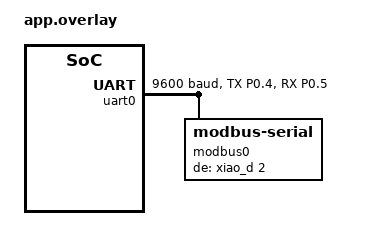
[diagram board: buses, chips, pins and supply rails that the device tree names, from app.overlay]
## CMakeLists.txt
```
cmake_minimum_required(VERSION 3.20.0)

find_package(Zephyr REQUIRED HINTS $ENV{ZEPHYR_BASE})
project(ble_mesh_general_rs485_node)

target_include_directories(app PRIVATE
  src
  ${CMAKE_CURRENT_LIST_DIR}/../../common/include
)
target_sources(app PRIVATE
  src/main.c
  ${CMAKE_CURRENT_LIST_DIR}/../../common/src/app_led.c
  ${CMAKE_CURRENT_LIST_DIR}/../../common/src/app_mesh.c
  ${CMAKE_CURRENT_LIST_DIR}/../../common/src/app_node.c
)
```

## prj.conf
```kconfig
CONFIG_MAIN_STACK_SIZE=4096
CONFIG_SYSTEM_WORKQUEUE_STACK_SIZE=2048
CONFIG_BT_SETTINGS=y
CONFIG_FLASH=y
CONFIG_FLASH_MAP=y
CONFIG_NVS=y
CONFIG_SETTINGS=y
CONFIG_HWINFO=y
CONFIG_BT=y
CONFIG_BT_PERIPHERAL=y
CONFIG_BT_OBSERVER=y
CONFIG_BT_BROADCASTER=y
CONFIG_BT_DEVICE_NAME="BLE_MESH_GENERAL"
CONFIG_BT_MESH=y
CONFIG_BT_MESH_RELAY=y
CONFIG_BT_MESH_PB_ADV=y
CONFIG_BT_MESH_PB_GATT=y
CONFIG_BT_MESH_GATT_PROXY=y
CONFIG_BT_MESH_SUBNET_COUNT=1
CONFIG_BT_MESH_APP_KEY_COUNT=1
CONFIG_BT_MESH_MODEL_KEY_COUNT=1
CONFIG_BT_MESH_MODEL_GROUP_COUNT=3
CONFIG_GPIO=y
CONFIG_SERIAL=y
CONFIG_UART_INTERRUPT_DRIVEN=y
CONFIG_UART_USE_RUNTIME_CONFIGURE=y
CONFIG_MODBUS=y
CONFIG_MODBUS_ROLE_CLIENT=y
CONFIG_MODBUS_FP_EXTENSIONS=n
CONFIG_CONSOLE=n
CONFIG_UART_CONSOLE=n
CONFIG_LOG=n
CONFIG_PRINTK=n
CONFIG_BOOT_BANNER=n
CONFIG_BUILD_OUTPUT_UF2=y
```

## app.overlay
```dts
#include <zephyr/dt-bindings/pinctrl/nrf-pinctrl.h>
#include <zephyr/dt-bindings/gpio/gpio.h>

/ {
	aliases {
		app-red = &led0;
		app-green = &led1;
		app-blue = &led2;
	};
};

&pinctrl {
	rs485_uart_default: rs485_uart_default {
		group1 {
			psels = <NRF_PSEL(UART_TX, 0, 4)>;
		};

		group2 {
			psels = <NRF_PSEL(UART_RX, 0, 5)>;
			bias-pull-up;
		};
	};

	rs485_uart_sleep: rs485_uart_sleep {
		group1 {
			psels = <NRF_PSEL(UART_TX, 0, 4)>,
				<NRF_PSEL(UART_RX, 0, 5)>;
			low-power-enable;
		};
	};
};

&uart0 {
	status = "okay";
	current-speed = <9600>;
	pinctrl-0 = <&rs485_uart_default>;
	pinctrl-1 = <&rs485_uart_sleep>;
	pinctrl-names = "default", "sleep";

	modbus0 {
		compatible = "zephyr,modbus-serial";
		status = "okay";
		de-gpios = <&xiao_d 2 GPIO_ACTIVE_HIGH>;
	};
};
```

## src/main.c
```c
#include <stdbool.h>
#include <stdint.h>

#include <errno.h>

#include <zephyr/devicetree.h>
#include <zephyr/kernel.h>
#include <zephyr/modbus/modbus.h>
#include <zephyr/sys/atomic.h>
#include <zephyr/sys/util.h>

#include "app_led.h"
#include "app_mesh.h"
#include "app_node.h"
#include "app_rs485_config.h"

#define PH_FIRST_REG                  0x0000U
#define PH_REG_COUNT                  3U
#define PH_CALIBRATION_REG            0x0007U
#define DO_MEASUREMENT_FIRST_REG      0x2001U
#define DO_MEASUREMENT_REG_COUNT      6U
#define DO_CALIBRATION_STATUS_REG     0x200fU
#define ORP_TEMPERATURE_REG           0x0000U
#define ORP_VALUE_FIRST_REG           0x0009U
#define ORP_VALUE_REG_COUNT           2U
#define TRANSMITTER_UNIT_FIRST_REG    0x0002U
#define TRANSMITTER_UNIT_REG_COUNT    3U
#define GENERAL_THREAD_STACK_SIZE     4096
#define GENERAL_THREAD_PRIORITY       7
#define GENERAL_WORKER_TICK_MS        100

#define GENERAL_MODBUS_NODE DT_COMPAT_GET_ANY_STATUS_OKAY(zephyr_modbus_serial)

enum sensor_runtime_state {
	SENSOR_STATE_UNKNOWN,
	SENSOR_STATE_ABSENT,
	SENSOR_STATE_ONLINE,
	SENSOR_STATE_LOST,
};

struct sensor_slot {
	enum app_sensor_type type;
	uint8_t address;
	enum sensor_runtime_state state;
	uint8_t failure_count;
	int64_t next_action_ms;
};

struct calibration_task {
	enum app_ph_calibration_point point;
	uint8_t sequence;
};

static const struct modbus_iface_param modbus_client_param = {
	.mode = MODBUS_MODE_RTU,
	.rx_timeout = APP_RS485_TIMEOUT_US,
	.serial = {
	.baud = APP_RS485_BAUDRATE,
		.parity = UART_CFG_PARITY_NONE,
		.stop_bits_client = UART_CFG_STOP_BITS_1,
	},
};

static struct sensor_slot sensors[] = {
	{ .type = APP_SENSOR_PH, .address = APP_RS485_PH_ADDRESS },
	{ .type = APP_SENSOR_DO, .address = APP_RS485_DO_ADDRESS },
	{ .type = APP_SENSOR_ORP, .address = APP_RS485_ORP_ADDRESS },
	{ .type = APP_SENSOR_WATER_LEVEL, .address = APP_RS485_WATER_LEVEL_ADDRESS },
};

static int modbus_iface = -1;
static bool modbus_ready;
static uint8_t mesh_sequence;
static atomic_t mesh_ready;
static atomic_t announce_inventory;
static struct k_thread general_thread;
K_THREAD_STACK_DEFINE(general_thread_stack, GENERAL_THREAD_STACK_SIZE);
K_MSGQ_DEFINE(calibration_queue, sizeof(struct calibration_task), 4, 4);
K_SEM_DEFINE(worker_wakeup, 0, 1);

static int init_modbus_client(void)
{
	const char *iface_name = DEVICE_DT_NAME(GENERAL_MODBUS_NODE);

	modbus_iface = modbus_iface_get_by_name(iface_name);
	if (modbus_iface < 0) {
		return modbus_iface;
	}

	return modbus_init_client(modbus_iface, modbus_client_param);
}

static int read_ph(const struct sensor_slot *sensor)
{
	uint16_t registers[PH_REG_COUNT];
	int16_t temperature_x10;
	int16_t ph_x100;
	int16_t ph_mv_x10;
	int err;

	err = modbus_read_holding_regs(modbus_iface, sensor->address, PH_FIRST_REG,
				       registers, ARRAY_SIZE(registers));
	if (err) {
		return err;
	}

	temperature_x10 = (int16_t)registers[0];
	ph_x100 = (int16_t)registers[1];
	ph_mv_x10 = (int16_t)registers[2];
	if (temperature_x10 < -200 || temperature_x10 > 600 || ph_x100 < 0 ||
	    ph_x100 > 1400 || ph_mv_x10 < -10000 || ph_mv_x10 > 10000) {
		return -ERANGE;
	}

	if (atomic_get(&mesh_ready)) {
		(void)app_mesh_send_ph_report(temperature_x10, ph_x100, ph_mv_x10,
					  mesh_sequence++);
	}
	return 0;
}

static int read_do(const struct sensor_slot *sensor)
{
	uint16_t registers[DO_MEASUREMENT_REG_COUNT];
	uint16_t calibration_status;
	uint16_t dissolved_oxygen_x100;
	int16_t temperature_x10;
	uint8_t saturation_pct;
	uint8_t calibration_flags = 0U;
	int err;

	err = modbus_read_holding_regs(modbus_iface, sensor->address,
				       DO_MEASUREMENT_FIRST_REG, registers,
				       ARRAY_SIZE(registers));
	if (err) {
		return err;
	}

	dissolved_oxygen_x100 = registers[0];
	temperature_x10 = (int16_t)registers[2];
	if (dissolved_oxygen_x100 > 2000U || temperature_x10 < 0 ||
	    temperature_x10 > 500 || registers[4] > 200U) {
		return -ERANGE;
	}
	saturation_pct = (uint8_t)registers[4];

	err = modbus_read_holding_regs(modbus_iface, sensor->address,
				       DO_CALIBRATION_STATUS_REG, &calibration_status, 1U);
	if (!err) {
		calibration_flags = APP_DO_CALIBRATION_STATUS_KNOWN |
			(calibration_status & (APP_DO_CALIBRATION_AIR_COMPLETE |
					       APP_DO_CALIBRATION_ZERO_COMPLETE));
	}

	if (atomic_get(&mesh_ready)) {
		(void)app_mesh_send_do_report(dissolved_oxygen_x100, temperature_x10,
					  saturation_pct, calibration_flags, mesh_sequence++);
	}
	return 0;
}

static int read_orp(const struct sensor_slot *sensor)
{
	uint16_t temperature_register;
	uint16_t value_registers[ORP_VALUE_REG_COUNT];
	int16_t temperature_x10;
	int16_t orp_x10;
	int16_t drift_x10;
	int err;

	err = modbus_read_holding_regs(modbus_iface, sensor->address,
				       ORP_TEMPERATURE_REG, &temperature_register, 1U);
	if (err) {
		return err;
	}
	err = modbus_read_holding_regs(modbus_iface, sensor->address,
				       ORP_VALUE_FIRST_REG, value_registers,
				       ARRAY_SIZE(value_registers));
	if (err) {
		return err;
	}

	temperature_x10 = (int16_t)temperature_register;
	orp_x10 = (int16_t)value_registers[0];
	drift_x10 = (int16_t)value_registers[1];
	if (temperature_x10 < -200 || temperature_x10 > 600 || orp_x10 < -10000 ||
	    orp_x10 > 10000 || drift_x10 < -10000 || drift_x10 > 10000) {
		return -ERANGE;
	}

	if (atomic_get(&mesh_ready)) {
		(void)app_mesh_send_orp_report(temperature_x10, orp_x10, drift_x10,
					   mesh_sequence++);
	}
	return 0;
}

static int read_water_level(const struct sensor_slot *sensor)
{
	uint16_t registers[TRANSMITTER_UNIT_REG_COUNT];
	uint8_t unit_code;
	uint8_t decimal_places;
	int16_t raw_value;
	int err;

	err = modbus_read_holding_regs(modbus_iface, sensor->address,
				       TRANSMITTER_UNIT_FIRST_REG, registers,
				       ARRAY_SIZE(registers));
	if (err) {
		return err;
	}

	unit_code = (uint8_t)registers[0];
	decimal_places = (uint8_t)registers[1];
	raw_value = (int16_t)registers[2];
	if (registers[0] > APP_TRANSMITTER_UNIT_MMH2O || registers[1] > 3U) {
		return -ERANGE;
	}

	if (atomic_get(&mesh_ready)) {
		(void)app_mesh_send_water_level_report(raw_value, decimal_places, unit_code,
						    mesh_sequence++);
	}
	return 0;
}

static int read_sensor(const struct sensor_slot *sensor)
{
	switch (sensor->type) {
	case APP_SENSOR_PH:
		return read_ph(sensor);
	case APP_SENSOR_DO:
		return read_do(sensor);
	case APP_SENSOR_ORP:
		return read_orp(sensor);
	case APP_SENSOR_WATER_LEVEL:
		return read_water_level(sensor);
	default:
		return -EINVAL;
	}
}

static bool any_sensor_lost(void)
{
	for (size_t index = 0; index < ARRAY_SIZE(sensors); index++) {
		if (sensors[index].state == SENSOR_STATE_LOST) {
			return true;
		}
	}
	return false;
}

static void update_sensor_error_led(void)
{
	app_node_set_sensor_error(!modbus_ready || any_sensor_lost());
}

static enum app_sensor_error sensor_error_from_errno(int err)
{
	return err == -ERANGE ? APP_SENSOR_ERROR_INVALID_DATA : APP_SENSOR_ERROR_MODBUS;
}

static void send_sensor_status(const struct sensor_slot *sensor,
			       enum app_sensor_status status, enum app_sensor_error error)
{
	if (!atomic_get(&mesh_ready)) {
		return;
	}
	(void)app_mesh_send_sensor_status(sensor->type, sensor->address, status, error,
					  mesh_sequence++);
}

static void service_sensor(struct sensor_slot *sensor, int64_t now)
{
	enum sensor_runtime_state previous_state = sensor->state;
	int err = read_sensor(sensor);

	if (!err) {
		sensor->state = SENSOR_STATE_ONLINE;
		sensor->failure_count = 0U;
		sensor->next_action_ms = now + APP_SENSOR_REPORT_INTERVAL_MS;
		if (previous_state != SENSOR_STATE_ONLINE) {
			send_sensor_status(sensor,
				previous_state == SENSOR_STATE_LOST ? APP_SENSOR_STATUS_RECOVERED :
								      APP_SENSOR_STATUS_ONLINE,
				APP_SENSOR_ERROR_NONE);
		}
		update_sensor_error_led();
		return;
	}

	if (previous_state == SENSOR_STATE_ONLINE) {
		sensor->failure_count++;
		if (sensor->failure_count < APP_SENSOR_FAILURE_LIMIT) {
			sensor->next_action_ms = now + APP_SENSOR_REPORT_INTERVAL_MS;
			return;
		}
		sensor->state = SENSOR_STATE_LOST;
		send_sensor_status(sensor, APP_SENSOR_STATUS_ERROR,
				   sensor_error_from_errno(err));
		update_sensor_error_led();
	} else if (previous_state == SENSOR_STATE_UNKNOWN) {
		sensor->state = SENSOR_STATE_ABSENT;
	}

	sensor->next_action_ms = now + APP_SENSOR_REPROBE_INTERVAL_MS;
}

static int ph_calibration_command(enum app_ph_calibration_point point, uint16_t *command)
{
	switch (point) {
	case APP_PH_CALIBRATION_PH_4_00:
		*command = 0x000b;
		break;
	case APP_PH_CALIBRATION_PH_6_86:
		*command = 0x000c;
		break;
	case APP_PH_CALIBRATION_PH_7_00:
		*command = 0x000d;
		break;
	case APP_PH_CALIBRATION_PH_9_18:
		*command = 0x000e;
		break;
	case APP_PH_CALIBRATION_PH_10_00:
		*command = 0x000f;
		break;
	case APP_PH_CALIBRATION_PH_10_01:
		*command = 0x0010;
		break;
	default:
		return -EINVAL;
	}
	return 0;
}

static void process_calibration(const struct calibration_task *task)
{
	enum app_ph_calibration_result result = APP_PH_CALIBRATION_SUCCESS;
	uint16_t command;

	if (ph_calibration_command(task->point, &command)) {
		result = APP_PH_CALIBRATION_REJECTED;
	} else if (!modbus_ready ||
		   modbus_write_holding_reg(modbus_iface, APP_RS485_PH_ADDRESS,
					    PH_CALIBRATION_REG, command)) {
		result = APP_PH_CALIBRATION_COMMUNICATION_ERROR;
	}
	(void)app_mesh_send_ph_calibration_result(task->point, result, task->sequence);
}

static void announce_detected_sensors(void)
{
	for (size_t index = 0; index < ARRAY_SIZE(sensors); index++) {
		if (sensors[index].state == SENSOR_STATE_ONLINE) {
			send_sensor_status(&sensors[index], APP_SENSOR_STATUS_ONLINE,
					   APP_SENSOR_ERROR_NONE);
			sensors[index].next_action_ms = 0;
		} else if (sensors[index].state == SENSOR_STATE_LOST) {
			send_sensor_status(&sensors[index], APP_SENSOR_STATUS_ERROR,
					   APP_SENSOR_ERROR_MODBUS);
		}
	}
}

static void general_thread_entry(void *unused1, void *unused2, void *unused3)
{
	struct calibration_task calibration;

	ARG_UNUSED(unused1);
	ARG_UNUSED(unused2);
	ARG_UNUSED(unused3);

	while (true) {
		if (!k_msgq_get(&calibration_queue, &calibration, K_NO_WAIT)) {
			process_calibration(&calibration);
		}
		if (atomic_cas(&announce_inventory, 1, 0)) {
			announce_detected_sensors();
		}
		if (modbus_ready) {
			int64_t now = k_uptime_get();

			for (size_t index = 0; index < ARRAY_SIZE(sensors); index++) {
				if (now >= sensors[index].next_action_ms) {
					service_sensor(&sensors[index], now);
					break;
				}
			}
		}
		(void)k_sem_take(&worker_wakeup, K_MSEC(GENERAL_WORKER_TICK_MS));
	}
}

static void send_heartbeat(void)
{
	(void)app_mesh_send_node_heartbeat(APP_DEVICE_GENERAL_RS485, app_node_state_flags(),
					   mesh_sequence++);
}

static void mesh_provisioned(void)
{
	atomic_set(&mesh_ready, 1);
	atomic_set(&announce_inventory, 1);
	app_node_mesh_ready();
	k_sem_give(&worker_wakeup);
}

static void mesh_reset(void)
{
	atomic_clear(&mesh_ready);
	app_node_mesh_reset();
}

static void mesh_message_received(const struct app_mesh_message *message)
{
	switch (message->opcode) {
	case APP_OPCODE_GATEWAY_HEARTBEAT:
		app_node_gateway_heartbeat();
		break;
	case APP_OPCODE_NODE_ONLINE_ACK:
		(void)app_node_online_ack(message->payload[1], message->payload[2]);
		break;
	case APP_OPCODE_PH_CALIBRATE: {
		const struct calibration_task task = {
			.point = message->payload[1],
			.sequence = message->payload[2],
		};

		if (k_msgq_put(&calibration_queue, &task, K_NO_WAIT)) {
			(void)app_mesh_send_ph_calibration_result(
				task.point, APP_PH_CALIBRATION_REJECTED, task.sequence);
		} else {
			k_sem_give(&worker_wakeup);
		}
		break;
	}
	default:
		break;
	}
}

static const struct app_mesh_callbacks mesh_callbacks = {
	.provisioned = mesh_provisioned,
	.reset = mesh_reset,
	.message_received = mesh_message_received,
};

static const struct app_node_config node_config = {
	.device_type = APP_DEVICE_GENERAL_RS485,
	.periodic = send_heartbeat,
	.periodic_interval_ms = APP_NODE_HEARTBEAT_INTERVAL_MS,
};

int main(void)
{
	if (app_led_init() || app_node_init(&node_config)) {
		app_led_set(APP_LED_ERROR);
		return 0;
	}

	modbus_ready = init_modbus_client() == 0;
	update_sensor_error_led();
	(void)k_thread_create(&general_thread, general_thread_stack,
			      K_THREAD_STACK_SIZEOF(general_thread_stack),
			      general_thread_entry, NULL, NULL, NULL,
			      K_PRIO_PREEMPT(GENERAL_THREAD_PRIORITY), 0, K_NO_WAIT);
	(void)k_thread_name_set(&general_thread, "general_modbus");

	if (app_mesh_init(&mesh_callbacks)) {
		app_led_set(APP_LED_ERROR);
	}
	return 0;
}
```
